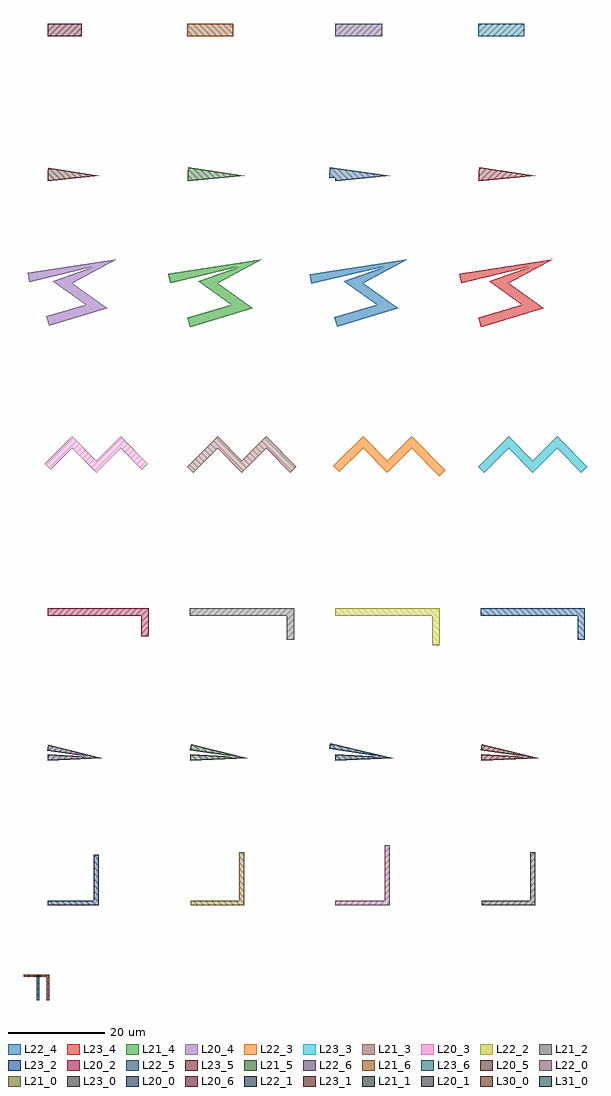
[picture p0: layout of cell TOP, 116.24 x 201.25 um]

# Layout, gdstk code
from math import pi, radians
import gdstk
lib = gdstk.Library(unit=1e-6, precision=1e-09)
L20_0 = (20, 0)
L20_1 = (20, 1)
L20_2 = (20, 2)
L20_3 = (20, 3)
L20_4 = (20, 4)
L20_5 = (20, 5)
L20_6 = (20, 6)
L21_0 = (21, 0)
L21_1 = (21, 1)
L21_2 = (21, 2)
L21_3 = (21, 3)
L21_4 = (21, 4)
L21_5 = (21, 5)
L21_6 = (21, 6)
L22_0 = (22, 0)
L22_1 = (22, 1)
L22_2 = (22, 2)
L22_3 = (22, 3)
L22_4 = (22, 4)
L22_5 = (22, 5)
L22_6 = (22, 6)
L23_0 = (23, 0)
L23_1 = (23, 1)
L23_2 = (23, 2)
L23_3 = (23, 3)
L23_4 = (23, 4)
L23_5 = (23, 5)
L23_6 = (23, 6)
L30_0 = (30, 0)
L31_0 = (31, 0)

absw = lib.new_cell('ABSW')
absw.add(gdstk.FlexPath([(0,0),(5,0),(5,5)], 0.5, ends="flush", simple_path=True, layer=30, datatype=0))  # L30_0
absw.add(gdstk.FlexPath([(0,2),(5,2)], 0.5, ends="flush", simple_path=True, layer=31, datatype=0))  # L31_0

top = lib.new_cell('TOP')
top.add(gdstk.FlexPath([(0,0),(10,0),(10,10)], 1, ends="flush", simple_path=True, layer=20, datatype=0))  # L20_0
top.add(gdstk.FlexPath([(30,0),(40,0),(40,10)], 1, ends="extended", simple_path=True, layer=21, datatype=0))  # L21_0
top.add(gdstk.FlexPath([(60,0),(70,0),(70,10)], 1, ends=(0.7, 1.9), simple_path=True, layer=22, datatype=0))  # L22_0
top.add(gdstk.FlexPath([(90,0),(100,0),(100,10)], 1, ends="round", simple_path=True, layer=23, datatype=0))  # L23_0
top.add(gdstk.FlexPath([(0,30),(10,30),(0,32)], 1.25, ends="flush", simple_path=True, layer=20, datatype=1))  # L20_1
top.add(gdstk.FlexPath([(30,30),(40,30),(30,32)], 1.25, ends="extended", simple_path=True, layer=21, datatype=1))  # L21_1
top.add(gdstk.FlexPath([(60,30),(70,30),(60,32)], 1.25, ends=(0.7, 1.9), simple_path=True, layer=22, datatype=1))  # L22_1
top.add(gdstk.FlexPath([(90,30),(100,30),(90,32)], 1.25, ends="round", simple_path=True, layer=23, datatype=1))  # L23_1
top.add(gdstk.FlexPath([(0,60),(10,60),(20,60),(20,55)], 1.5, ends="flush", simple_path=True, layer=20, datatype=2))  # L20_2
top.add(gdstk.FlexPath([(30,60),(40,60),(50,60),(50,55)], 1.5, ends="extended", simple_path=True, layer=21, datatype=2))  # L21_2
top.add(gdstk.FlexPath([(60,60),(70,60),(80,60),(80,55)], 1.5, ends=(0.7, 1.9), simple_path=True, layer=22, datatype=2))  # L22_2
top.add(gdstk.FlexPath([(90,60),(100,60),(110,60),(110,55)], 1.5, ends="round", simple_path=True, layer=23, datatype=2))  # L23_2
top.add(gdstk.FlexPath([(0,90),(5,95),(10,90),(15,95),(20,90)], 1.75, ends="flush", simple_path=True, layer=20, datatype=3))  # L20_3
top.add(gdstk.FlexPath([(30,90),(35,95),(40,90),(45,95),(50,90)], 1.75, ends="extended", simple_path=True, layer=21, datatype=3))  # L21_3
top.add(gdstk.FlexPath([(60,90),(65,95),(70,90),(75,95),(80,90)], 1.75, ends=(0.7, 1.9), simple_path=True, layer=22, datatype=3))  # L22_3
top.add(gdstk.FlexPath([(90,90),(95,95),(100,90),(105,95),(110,90)], 1.75, ends="round", simple_path=True, layer=23, datatype=3))  # L23_3
top.add(gdstk.FlexPath([(0,120),(10,123),(3,128),(12,132),(-4,129)], 2, ends="flush", simple_path=True, layer=20, datatype=4))  # L20_4
top.add(gdstk.FlexPath([(30,120),(40,123),(33,128),(42,132),(26,129)], 2, ends="extended", simple_path=True, layer=21, datatype=4))  # L21_4
top.add(gdstk.FlexPath([(60,120),(70,123),(63,128),(72,132),(56,129)], 2, ends=(0.7, 1.9), simple_path=True, layer=22, datatype=4))  # L22_4
top.add(gdstk.FlexPath([(90,120),(100,123),(93,128),(102,132),(86,129)], 2, ends="round", simple_path=True, layer=23, datatype=4))  # L23_4
top.add(gdstk.FlexPath([(0,150),(10,150),(0,150.5)], 2.25, ends="flush", simple_path=True, layer=20, datatype=5))  # L20_5
top.add(gdstk.FlexPath([(30,150),(40,150),(30,150.5)], 2.25, ends="extended", simple_path=True, layer=21, datatype=5))  # L21_5
top.add(gdstk.FlexPath([(60,150),(70,150),(60,150.5)], 2.25, ends=(0.7, 1.9), simple_path=True, layer=22, datatype=5))  # L22_5
top.add(gdstk.FlexPath([(90,150),(100,150),(90,150.5)], 2.25, ends="round", simple_path=True, layer=23, datatype=5))  # L23_5
top.add(gdstk.FlexPath([(0,180),(7,180)], 2.5, ends="flush", simple_path=True, layer=20, datatype=6))  # L20_6
top.add(gdstk.FlexPath([(30,180),(37,180)], 2.5, ends="extended", simple_path=True, layer=21, datatype=6))  # L21_6
top.add(gdstk.FlexPath([(60,180),(67,180)], 2.5, ends=(0.7, 1.9), simple_path=True, layer=22, datatype=6))  # L22_6
top.add(gdstk.FlexPath([(90,180),(97,180)], 2.5, ends="round", simple_path=True, layer=23, datatype=6))  # L23_6
top.add(gdstk.Reference(absw, (0,-20), rotation=pi/2))

lib.write_gds('TOP.gds')
